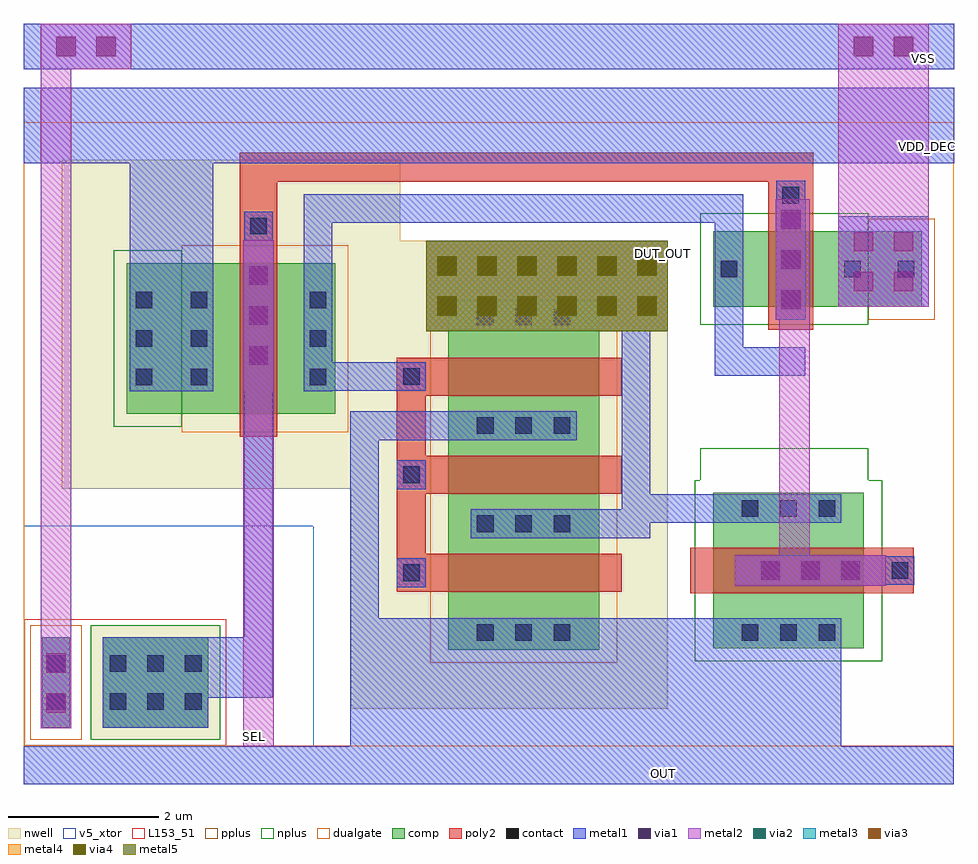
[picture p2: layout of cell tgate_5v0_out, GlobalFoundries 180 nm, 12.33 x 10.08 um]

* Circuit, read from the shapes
.subckt tgate_5v0_out DUT_OUT OUT SEL VDD_DEC VSS
XM1 DUT_OUT SEL OUT VSS nfet_05v0 w=2u l=0.6u
XM2 VSS SEL n1 VSS nfet_05v0 w=1u l=0.6u
XM3 n1 SEL VDD_DEC VDD_DEC pfet_05v0 w=2u l=0.5u
XM4 DUT_OUT n1 OUT VDD_DEC pfet_05v0 w=2u l=0.5u m=3
.ends

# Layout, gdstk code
from math import pi, radians
import gdstk
lib = gdstk.Library(unit=1e-6, precision=1e-09)
def R(c, l, rs):  # rectangles x0, y0, x1, y1
    for r in rs: c.add(gdstk.rectangle(r[:2], r[2:], *l))
def A(c, l, x, y, w, h, nx, ny, dx, dy):  # array of equal rectangles
    R(c, l, [(x+i*dx, y+j*dy, x+i*dx+w, y+j*dy+h) for i in range(nx) for j in range(ny)])
nwell = (21, 0)
comp = (22, 0)
poly2 = (30, 0)
pplus = (31, 0)
nplus = (32, 0)
contact = (33, 0)
metal1 = (34, 0)
via1 = (35, 0)
metal2 = (36, 0)
via2 = (38, 0)
via3 = (40, 0)
via4 = (41, 0)
metal3 = (42, 0)
metal4 = (46, 0)
dualgate = (55, 0)
metal5 = (81, 0)
v5_xtor = (112, 1)
L153_51 = (153, 51)

pfet_5 = lib.new_cell('pfet$5')
R(pfet_5, nwell, [(-1.24,-0.91,4.96,3.29)])
R(pfet_5, comp, [(-0.46,0,4.18,2)])
A(pfet_5, poly2, 0.31, -0.3, 0.5, 2.98, 3, 1, 1.3, 0)
R(pfet_5, pplus, [(-0.63,-0.24,4.35,2.24)])
A(pfet_5, contact, -0.34, 0.38, 0.22, 0.22, 1, 3, 0, 0.51)
A(pfet_5, contact, 1.1, 0.38, 0.22, 0.22, 1, 3, 0, 0.51)
A(pfet_5, contact, 2.4, 0.38, 0.22, 0.22, 1, 3, 0, 0.51)
A(pfet_5, contact, 3.84, 0.38, 0.22, 0.22, 1, 3, 0, 0.51)
A(pfet_5, contact, 0.45, 2.38, 0.22, 0.22, 3, 1, 1.3, 0)
A(pfet_5, metal1, 0.37, 2.3, 0.38, 0.38, 3, 1, 1.3, 0)
R(pfet_5, metal1, [(-0.42,0.3,-0.04,1.7), (1.02,0.3,1.4,1.7), (2.32,0.3,2.7,1.7), (3.76,0.3,4.14,1.7)])
R(pfet_5, dualgate, [(-1.74,-1.41,5.46,3.79)])
R(pfet_5, v5_xtor, [(-1.74,-1.41,5.46,3.79)])

nfet_3_1 = lib.new_cell('nfet$3$1')
R(nfet_3_1, comp, [(-0.42,0,1.64,2)])
R(nfet_3_1, poly2, [(0.31,-0.66,0.91,2.3)])
R(nfet_3_1, nplus, [(-0.59,-0.24,1.81,2.24)])
A(nfet_3_1, contact, -0.32, 0.38, 0.22, 0.22, 1, 3, 0, 0.51)
A(nfet_3_1, contact, 1.32, 0.38, 0.22, 0.22, 1, 3, 0, 0.51)
R(nfet_3_1, contact, [(0.5,-0.59,0.72,-0.37)])
R(nfet_3_1, metal1, [(0.42,-0.67,0.8,-0.29), (-0.4,0.3,-0.02,1.7), (1.24,0.3,1.62,1.7)])
R(nfet_3_1, dualgate, [(-0.84,-1.08,2.06,2.71)])
R(nfet_3_1, v5_xtor, [(-0.84,-1.08,2.06,2.71)])

nfet_6 = lib.new_cell('nfet$6')
R(nfet_6, comp, [(-0.42,0,2.35,1)])
R(nfet_6, poly2, [(0.31,-0.3,0.91,1.66)])
R(nfet_6, pplus, [(1.64,-0.17,2.52,1.17)])
R(nfet_6, nplus, [(-0.59,-0.24,1.64,1.24)])
R(nfet_6, contact, [(-0.32,0.39,-0.1,0.61), (1.32,0.39,1.54,0.61), (2.03,0.39,2.25,0.61), (0.5,1.37,0.72,1.59)])
R(nfet_6, metal1, [(-0.4,0.31,-0.02,0.69), (1.24,0.31,1.62,0.69), (1.95,0.31,2.33,0.69), (0.42,1.29,0.8,1.67)])
R(nfet_6, dualgate, [(-0.84,-0.71,2.77,2.08)])
R(nfet_6, v5_xtor, [(-0.84,-0.71,2.77,2.08)])

via_dev_18 = lib.new_cell('via_dev$18')
R(via_dev_18, metal1, [(0,0,3.2,1.2)])
A(via_dev_18, via1, 0.145, 0.205, 0.26, 0.26, 6, 2, 0.53, 0.53)
R(via_dev_18, metal2, [(0,0,3.2,1.2)])
A(via_dev_18, via2, 0.145, 0.205, 0.26, 0.26, 6, 2, 0.53, 0.53)
A(via_dev_18, via3, 0.145, 0.205, 0.26, 0.26, 6, 2, 0.53, 0.53)
A(via_dev_18, via4, 0.145, 0.205, 0.26, 0.26, 6, 2, 0.53, 0.53)
R(via_dev_18, metal3, [(0,0,3.2,1.2)])
R(via_dev_18, metal4, [(0,0,3.2,1.2)])
R(via_dev_18, metal5, [(0,0,3.2,1.2)])

pfet_3_2 = lib.new_cell('pfet$3$2')
R(pfet_3_2, nwell, [(-1.32,-1.37,3.17,2.99)])
R(pfet_3_2, comp, [(-0.46,0,2.31,2)])
R(pfet_3_2, poly2, [(0.31,-0.68,0.81,2.3)])
R(pfet_3_2, pplus, [(-0.63,-0.24,1.58,2.24)])
R(pfet_3_2, nplus, [(1.58,-0.17,2.48,2.17)])
A(pfet_3_2, contact, -0.34, 0.38, 0.22, 0.22, 1, 3, 0, 0.51)
A(pfet_3_2, contact, 1.24, 0.38, 0.22, 0.22, 1, 3, 0, 0.51)
A(pfet_3_2, contact, 1.97, 0.38, 0.22, 0.22, 1, 3, 0, 0.51)
R(pfet_3_2, contact, [(0.45,-0.6,0.67,-0.38)])
R(pfet_3_2, metal1, [(0.37,-0.68,0.75,-0.3), (-0.42,0.3,-0.04,1.7), (1.16,0.3,1.54,1.7), (1.89,0.3,2.27,1.7)])
R(pfet_3_2, dualgate, [(-1.82,-1.87,3.67,3.49)])
R(pfet_3_2, v5_xtor, [(-1.82,-1.87,3.67,3.49)])

via_dev_13_3 = lib.new_cell('via_dev$13$3')
R(via_dev_13_3, metal1, [(0,0,0.4,1.6)])
A(via_dev_13_3, via1, 0.07, 0.14, 0.26, 0.26, 1, 3, 0, 0.53)
R(via_dev_13_3, metal2, [(0,0,0.4,1.6)])

via_dev_4_2 = lib.new_cell('via_dev$4$2')
R(via_dev_4_2, metal1, [(0,0,0.4,2)])
A(via_dev_4_2, via1, 0.07, 0.34, 0.26, 0.26, 1, 3, 0, 0.53)
R(via_dev_4_2, metal2, [(0,0,0.4,2)])

via_dev_7_2 = lib.new_cell('via_dev$7$2')
R(via_dev_7_2, metal1, [(0,0,2,0.4)])
A(via_dev_7_2, via1, 0.34, 0.07, 0.26, 0.26, 3, 1, 0.53, 0)
R(via_dev_7_2, metal2, [(0,0,2,0.4)])

via_dev_12_3 = lib.new_cell('via_dev$12$3')
R(via_dev_12_3, metal1, [(0,0,0.4,1.2)])
R(via_dev_12_3, via1, [(0.07,0.205,0.33,0.465), (0.07,0.735,0.33,0.995)])
R(via_dev_12_3, metal2, [(0,0,0.4,1.2)])

via_dev_5_3 = lib.new_cell('via_dev$5$3')
R(via_dev_5_3, metal1, [(0,0,1.2,0.6)])
R(via_dev_5_3, via1, [(0.205,0.17,0.465,0.43), (0.735,0.17,0.995,0.43)])
R(via_dev_5_3, metal2, [(0,0,1.2,0.6)])

via_dev_8_1 = lib.new_cell('via_dev$8$1')
R(via_dev_8_1, metal1, [(0,0,1.2,1.2)])
R(via_dev_8_1, via1, [(0.205,0.205,0.465,0.465), (0.735,0.205,0.995,0.465), (0.205,0.735,0.465,0.995), (0.735,0.735,0.995,0.995)])
R(via_dev_8_1, metal2, [(0,0,1.2,1.2)])

diode_nw2ps_1 = lib.new_cell('diode_nw2ps$1')
R(diode_nw2ps_1, nwell, [(0.64,-0.16,2.36,1.36)])
R(diode_nw2ps_1, comp, [(0,0,0.36,1.2), (0.8,0,2.2,1.2)])
R(diode_nw2ps_1, pplus, [(-0.16,-0.16,0.52,1.36)])
R(diode_nw2ps_1, nplus, [(0.64,-0.16,2.36,1.36)])
A(diode_nw2ps_1, contact, 0.89, 0.24, 0.22, 0.22, 3, 2, 0.5, 0.5)
R(diode_nw2ps_1, contact, [(0.07,0.24,0.29,0.46), (0.07,0.74,0.29,0.96)])
R(diode_nw2ps_1, metal1, [(0,0,0.36,1.2), (0.8,0,2.2,1.2)])
R(diode_nw2ps_1, dualgate, [(-0.24,-0.24,2.44,1.44)])
R(diode_nw2ps_1, L153_51, [(-0.24,-0.24,2.44,1.44)])

tgate_5v0_out = lib.new_cell('tgate_5v0_out')
R(tgate_5v0_out, poly2, [(1.265,0.465,1.645,3.565), (-0.44,5.5,-0.32,5.9)])
R(tgate_5v0_out, nplus, [(5.285,1.945,7.515,2.365)])
R(tgate_5v0_out, metal1, [(0.645,-1.585,7.155,-0.265), (-2.28,3.12,-1.17,6.45)])
R(tgate_5v0_out, dualgate, [(-3.68,-1.585,8.645,6.69)])
R(tgate_5v0_out, v5_xtor, [(0.155,-1.585,8.645,1.33), (-3.68,1.33,8.645,6.69)])
tgate_5v0_out.add(gdstk.FlexPath([(-3.68,-1.835),(8.645,-1.835)], 0.5, ends="flush", simple_path=True, layer=34, datatype=0))  # metal1
tgate_5v0_out.add(gdstk.FlexPath([(1.645,3.315),(0.14,3.315)], 0.38, ends="flush", simple_path=True, layer=34, datatype=0))  # metal1
tgate_5v0_out.add(gdstk.FlexPath([(-2.44,-0.54),(-0.38,-0.54)], 0.8, ends="flush", simple_path=True, layer=34, datatype=0))  # metal1
tgate_5v0_out.add(gdstk.FlexPath([(-3.68,7.69),(8.65,7.69)], 0.6, ends="flush", simple_path=True, layer=34, datatype=0))  # metal1
tgate_5v0_out.add(gdstk.FlexPath([(-3.68,6.645),(8.65,6.645)], 1, ends="flush", simple_path=True, layer=34, datatype=0))  # metal1
tgate_5v0_out.add(gdstk.FlexPath([(3.545,4.105),(4.435,4.105),(4.435,1.365),(3.4,1.365)], 0.38, ends="flush", simple_path=True, layer=34, datatype=0))  # metal1
tgate_5v0_out.add(gdstk.FlexPath([(2.545,2.665),(0.835,2.665),(0.835,-0.075),(2.47,-0.075)], 0.38, ends="flush", simple_path=True, layer=34, datatype=0))  # metal1
tgate_5v0_out.add(gdstk.FlexPath([(3.345,-0.075),(6.44,-0.075)], 0.38, ends="flush", simple_path=True, layer=34, datatype=0))  # metal1
tgate_5v0_out.add(gdstk.FlexPath([(5.85,1.565),(4.37,1.565)], 0.38, ends="flush", simple_path=True, layer=34, datatype=0))  # metal1
tgate_5v0_out.add(gdstk.FlexPath([(0.22,4.16),(0.22,5.545),(5.665,5.545),(5.665,4.55)], 0.38, ends="flush", simple_path=True, layer=34, datatype=0))  # metal1
tgate_5v0_out.add(gdstk.FlexPath([(-0.57,5.42),(-0.57,-0.625)], 0.38, ends="flush", simple_path=True, layer=34, datatype=0))  # metal1
tgate_5v0_out.add(gdstk.FlexPath([(5.665,4.69),(5.665,3.515),(6.675,3.515)], 0.38, ends="flush", simple_path=True, layer=34, datatype=0))  # metal1
tgate_5v0_out.add(gdstk.FlexPath([(-0.57,-1.585),(-0.57,5.125)], 0.4, ends="flush", simple_path=True, layer=36, datatype=0))  # metal2
tgate_5v0_out.add(gdstk.FlexPath([(6.535,5.67),(6.535,0.545)], 0.4, ends="flush", simple_path=True, layer=36, datatype=0))  # metal2
tgate_5v0_out.add(gdstk.FlexPath([(-3.255,-0.625),(-3.255,7.99)], 0.4, ends="flush", simple_path=True, layer=36, datatype=0))  # metal2
tgate_5v0_out.add(gdstk.FlexPath([(7.715,4.245),(7.715,7.99)], 1.2, ends="flush", simple_path=True, layer=36, datatype=0))  # metal2
tgate_5v0_out.add(gdstk.FlexPath([(-0.63,5.23),(-0.63,6.09),(6.785,6.09)], 0.38, ends="flush", simple_path=True, layer=30, datatype=0))  # poly2
tgate_5v0_out.add(gdstk.Reference(pfet_5, (3.945,0.155), rotation=pi/2))
tgate_5v0_out.add(gdstk.Reference(nfet_3_1, (7.455,0.135), rotation=pi/2))
tgate_5v0_out.add(gdstk.Reference(nfet_6, (5.875,4.24)))
tgate_5v0_out.add(gdstk.Reference(via_dev_18, (1.655,3.915)))
tgate_5v0_out.add(gdstk.Reference(pfet_3_2, (-0.01,4.82), rotation=pi))
tgate_5v0_out.add(gdstk.Reference(via_dev_13_3, (6.285,4.07)))
tgate_5v0_out.add(gdstk.Reference(via_dev_4_2, (-0.77,3.125)))
tgate_5v0_out.add(gdstk.Reference(via_dev_7_2, (5.745,0.545)))
tgate_5v0_out.add(gdstk.Reference(via_dev_12_3, (-3.455,-1.345)))
tgate_5v0_out.add(gdstk.Reference(via_dev_5_3, (-3.455,7.39)))
tgate_5v0_out.add(gdstk.Reference(via_dev_5_3, (7.115,7.39)))
tgate_5v0_out.add(gdstk.Reference(via_dev_8_1, (7.115,4.24)))
tgate_5v0_out.add(gdstk.Reference(diode_nw2ps_1, (-3.435,-1.34)))
tgate_5v0_out.add(gdstk.Label('OUT', (4.795,-1.94), layer=34, texttype=10))
tgate_5v0_out.add(gdstk.Label('VSS', (8.245,7.535), layer=34, texttype=10))
tgate_5v0_out.add(gdstk.Label('VDD_DEC', (8.3,6.365), layer=34, texttype=10))
tgate_5v0_out.add(gdstk.Label('DUT_OUT', (4.79,4.945), layer=36, texttype=10))
tgate_5v0_out.add(gdstk.Label('SEL', (-0.63,-1.45), layer=36, texttype=10))

lib.write_gds('tgate_5v0_out.gds')
